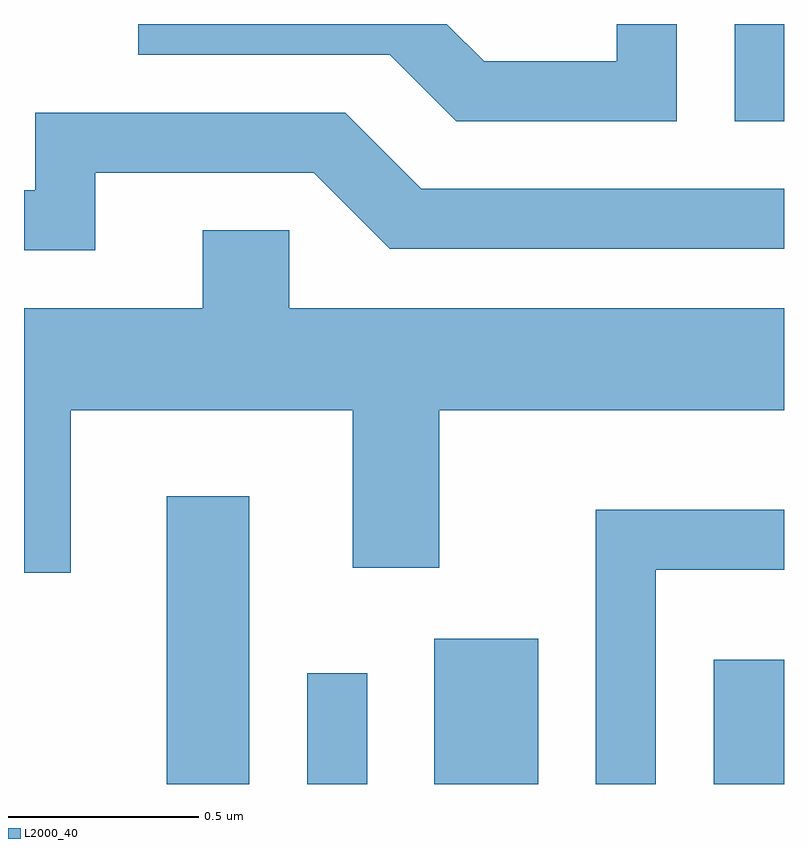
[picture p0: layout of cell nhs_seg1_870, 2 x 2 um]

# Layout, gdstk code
import gdstk
lib = gdstk.Library(unit=1e-6, precision=1e-09)
def R(c, l, rs):  # rectangles x0, y0, x1, y1
    for r in rs: c.add(gdstk.rectangle(r[:2], r[2:], *l))
def P(c, l, *ps):  # polygons
    for p in ps: c.add(gdstk.Polygon(p, *l))
L2000_40 = (2000, 40)

nhs_seg1_870 = lib.new_cell('nhs_seg1_870')
R(nhs_seg1_870, L2000_40, [(191.986,889.712,192.204,890.469), (192.356,889.712,192.514,890.003), (192.691,889.712,192.964,890.094), (193.426,889.712,193.611,890.039), (193.481,891.456,193.611,891.712)])
P(nhs_seg1_870, L2000_40, [(193.329,891.712),(193.171,891.712),(193.171,891.614),(192.822,891.614),(192.724,891.712),(191.911,891.712),(191.911,891.631),(192.574,891.631),(192.749,891.456),(193.329,891.456)],
  [(191.799,891.321),(192.374,891.321),(192.574,891.121),(193.611,891.121),(193.611,891.279),(192.657,891.279),(192.457,891.479),(191.641,891.479),(191.641,891.274),(191.611,891.274),(191.611,891.116),(191.799,891.116)],
  [(191.734,890.696),(192.476,890.696),(192.476,890.281),(192.704,890.281),(192.704,890.696),(193.611,890.696),(193.611,890.964),(192.309,890.964),(192.309,891.169),(192.081,891.169),(192.081,890.964),(191.611,890.964),(191.611,890.268),(191.734,890.268)],
  [(193.274,890.276),(193.611,890.276),(193.611,890.434),(193.116,890.434),(193.116,889.712),(193.274,889.712)])

lib.write_gds('nhs_seg1_870.gds')
